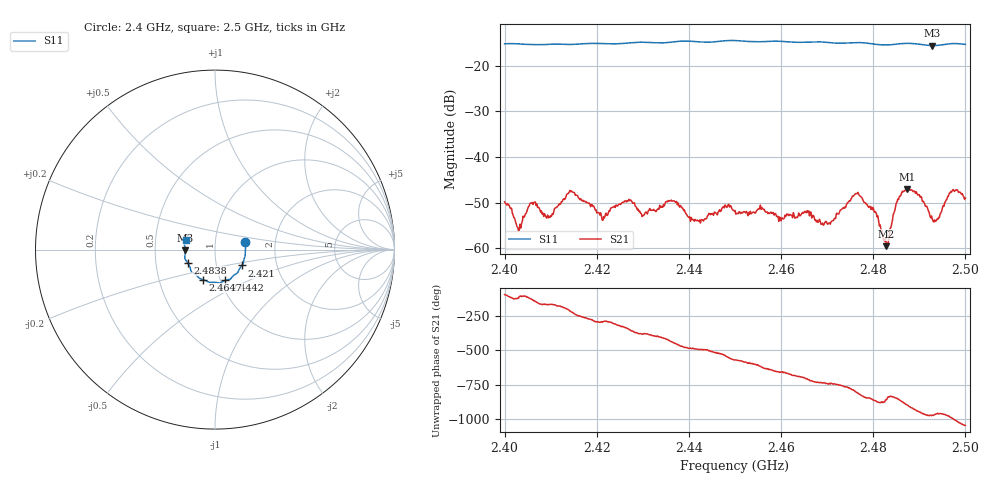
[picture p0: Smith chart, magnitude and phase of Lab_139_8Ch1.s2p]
# Hz S RI R 50
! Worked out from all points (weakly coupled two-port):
!   601 points, 2.4 GHz to 2.5 GHz, reference 50 ohm
!   highest |S21| = -47.02 dB at 2.4873 GHz (marker M1); lowest = -59.5 dB at 2.4828 GHz (marker M2)
!   lowest |S11| = -15.6 dB at 2.4928 GHz (marker M3), VSWR 1.40, Z = 35.8 - j0.339 ohm
!   |S11| at or under -10 dB: start of sweep to end of sweep
!   S12 and S22 are empty: the file has one direction only
!   S11 on the Smith chart (normalised r, x): 2.4 GHz: 1.40, +0.12; 2.421 GHz: 1.33, -0.24; 2.4442 GHz: 1.05, -0.37; 2.4647 GHz: 0.83, -0.29; 2.4838 GHz: 0.73, -0.11; 2.5 GHz: 0.72, +0.08
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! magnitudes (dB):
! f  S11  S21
! 2.4 GHz  -15.2  -49.8
! 2.4032 GHz  -15.3  -56.1
! 2.406 GHz  -15.4  -50.0
! 2.4095 GHz  -15.3  -53.3
! 2.414 GHz  -15.4  -47.7
! 2.4167 GHz  -15.2  -49.5
! 2.421 GHz  -15.2  -52.9
! 2.4268 GHz  -15.1  -49.6
! 2.4333 GHz  -15.0  -51.3
! 2.4442 GHz  -14.9  -52.7
! 2.45 GHz  -14.5  -51.7
! 2.4647 GHz  -14.9  -52.1
! 2.4667 GHz  -14.8  -53.4
! 2.4705 GHz  -15.0  -54.4
! 2.4765 GHz  -15.0  -48.1
! 2.4828 GHz  -15.5  -59.5
! 2.4833 GHz  -15.5  -58.0
! 2.4838 GHz  -15.4  -55.4
! 2.4873 GHz  -15.1  -47.0
! 2.4928 GHz  -15.6  -53.6
! 2.497 GHz  -15.2  -47.7
! 2.5 GHz  -15.4  -49.0
